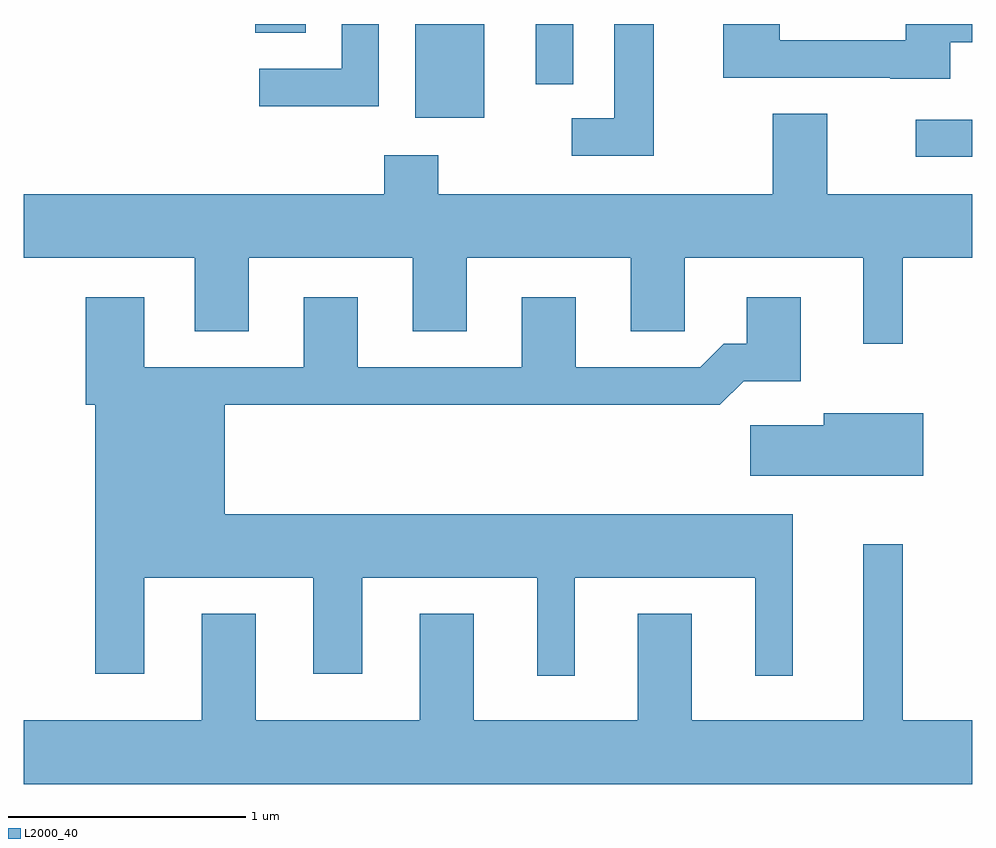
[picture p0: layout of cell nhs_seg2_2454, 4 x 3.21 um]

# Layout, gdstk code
import gdstk
lib = gdstk.Library(unit=1e-6, precision=1e-09)
def R(c, l, rs):  # rectangles x0, y0, x1, y1
    for r in rs: c.add(gdstk.rectangle(r[:2], r[2:], *l))
def P(c, l, *ps):  # polygons
    for p in ps: c.add(gdstk.Polygon(p, *l))
L2000_40 = (2000, 40)

nhs_seg2_2454 = lib.new_cell('nhs_seg2_2454')
R(nhs_seg2_2454, L2000_40, [(261.373,993.241,261.611,993.399), (259.261,993.406,259.554,993.802), (259.771,993.548,259.929,993.802), (258.586,993.766,258.799,993.802)])
P(nhs_seg2_2454, L2000_40, [(259.109,993.802),(258.951,993.802),(258.951,993.614),(258.603,993.614),(258.603,993.456),(259.109,993.456)],
  [(260.269,993.802),(260.101,993.802),(260.101,993.404),(259.923,993.404),(259.923,993.246),(260.269,993.246)],
  [(261.519,993.726),(261.611,993.726),(261.611,993.802),(261.331,993.802),(261.331,993.734),(260.799,993.734),(260.799,993.802),(260.561,993.802),(260.561,993.576),(261.265,993.576),(261.265,993.571),(261.519,993.571)],
  [(261.319,992.816),(261.611,992.816),(261.611,993.084),(260.999,993.084),(260.999,993.424),(260.771,993.424),(260.771,993.084),(259.359,993.084),(259.359,993.249),(259.131,993.249),(259.131,993.084),(257.611,993.084),(257.611,992.816),(258.331,992.816),(258.331,992.506),(258.559,992.506),(258.559,992.816),(259.251,992.816),(259.251,992.506),(259.479,992.506),(259.479,992.816),(260.171,992.816),(260.171,992.506),(260.399,992.506),(260.399,992.816),(261.151,992.816),(261.151,992.453),(261.319,992.453)],
  [(259.934,991.466),(260.696,991.466),(260.696,991.053),(260.854,991.053),(260.854,991.734),(258.459,991.734),(258.459,992.196),(260.546,992.196),(260.647,992.296),(260.889,992.296),(260.889,992.649),(260.661,992.649),(260.661,992.454),(260.564,992.454),(260.464,992.354),(259.939,992.354),(259.939,992.649),(259.711,992.649),(259.711,992.354),(259.019,992.354),(259.019,992.649),(258.791,992.649),(258.791,992.354),(258.119,992.354),(258.119,992.649),(257.871,992.649),(257.871,992.196),(257.911,992.196),(257.911,991.061),(258.119,991.061),(258.119,991.466),(258.831,991.466),(258.831,991.061),(259.039,991.061),(259.039,991.466),(259.776,991.466),(259.776,991.053),(259.934,991.053)],
  [(261.404,992.159),(260.986,992.159),(260.986,992.109),(260.676,992.109),(260.676,991.896),(261.404,991.896)],
  [(261.611,990.864),(261.319,990.864),(261.319,991.608),(261.151,991.608),(261.151,990.864),(260.429,990.864),(260.429,991.314),(260.201,991.314),(260.201,990.864),(259.509,990.864),(259.509,991.314),(259.281,991.314),(259.281,990.864),(258.589,990.864),(258.589,991.314),(258.361,991.314),(258.361,990.864),(257.611,990.864),(257.611,990.596),(261.611,990.596)])

lib.write_gds('nhs_seg2_2454.gds')
